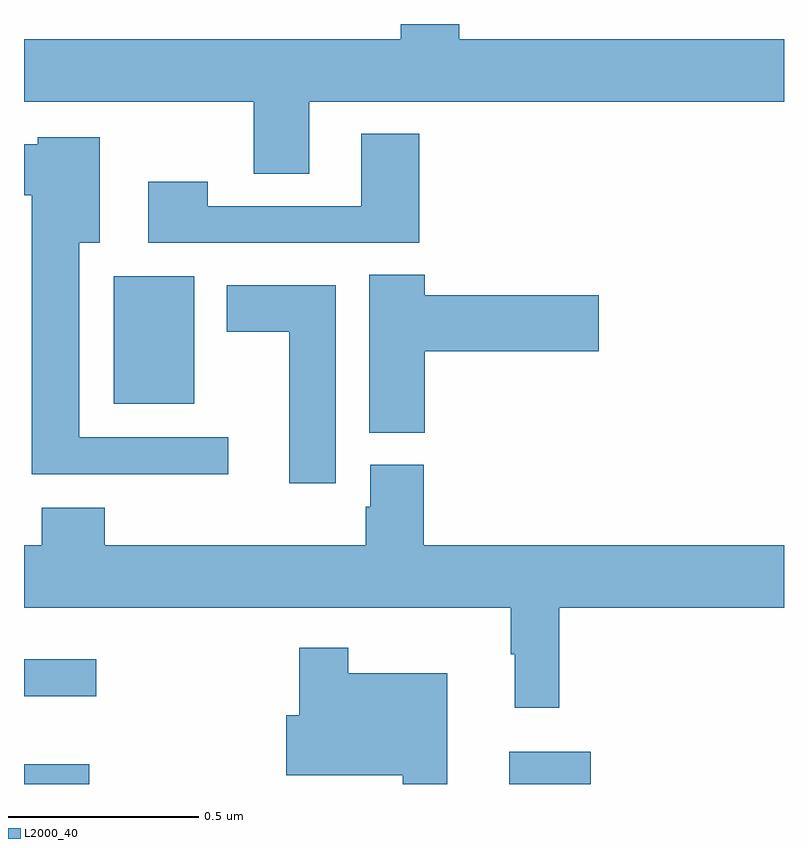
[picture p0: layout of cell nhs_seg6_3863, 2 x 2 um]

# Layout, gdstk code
import gdstk
lib = gdstk.Library(unit=1e-6, precision=1e-09)
def R(c, l, rs):  # rectangles x0, y0, x1, y1
    for r in rs: c.add(gdstk.rectangle(r[:2], r[2:], *l))
def P(c, l, *ps):  # polygons
    for p in ps: c.add(gdstk.Polygon(p, *l))
L2000_40 = (2000, 40)

nhs_seg6_3863 = lib.new_cell('nhs_seg6_3863')
R(nhs_seg6_3863, L2000_40, [(162,985.5,162.172,985.552), (163.277,985.5,163.492,985.585), (162,985.731,162.19,985.828), (162.236,986.501,162.448,986.836)])
P(nhs_seg6_3863, L2000_40, [(162.751,987.296),(164,987.296),(164,987.46),(163.145,987.46),(163.145,987.5),(162.992,987.5),(162.992,987.46),(162,987.46),(162,987.296),(162.604,987.296),(162.604,987.106),(162.751,987.106)],
  [(163.04,987.211),(162.887,987.211),(162.887,987.021),(162.483,987.021),(162.483,987.085),(162.327,987.085),(162.327,986.925),(163.04,986.925)],
  [(162.538,986.412),(162.145,986.412),(162.145,986.924),(162.199,986.924),(162.199,987.202),(162.036,987.202),(162.036,987.184),(162,987.184),(162,987.05),(162.02,987.05),(162.02,986.315),(162.538,986.315)],
  [(163.055,986.639),(163.513,986.639),(163.513,986.786),(163.055,986.786),(163.055,986.84),(162.908,986.84),(162.908,986.425),(163.055,986.425)],
  [(162.82,986.812),(162.533,986.812),(162.533,986.69),(162.698,986.69),(162.698,986.292),(162.82,986.292)],
  [(163.409,985.964),(164,985.964),(164,986.128),(163.052,986.128),(163.052,986.34),(162.911,986.34),(162.911,986.229),(162.899,986.229),(162.899,986.128),(162.212,986.128),(162.212,986.227),(162.047,986.227),(162.047,986.128),(162,986.128),(162,985.964),(163.281,985.964),(163.281,985.841),(163.292,985.841),(163.292,985.701),(163.409,985.701)],
  [(163.114,985.792),(162.853,985.792),(162.853,985.858),(162.724,985.858),(162.724,985.681),(162.69,985.681),(162.69,985.523),(162.997,985.523),(162.997,985.5),(163.114,985.5)])

lib.write_gds('nhs_seg6_3863.gds')
